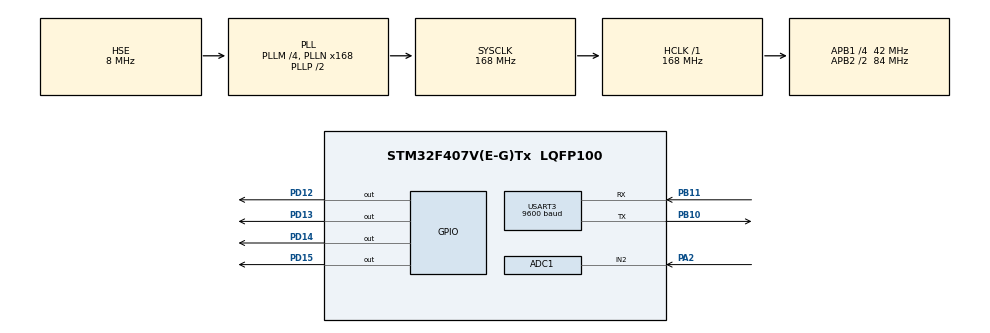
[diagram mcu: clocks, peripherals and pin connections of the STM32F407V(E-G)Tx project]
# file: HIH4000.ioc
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ADC1.Channel-8\#ChannelRegularConversion=ADC_CHANNEL_2
ADC1.ClockPrescaler=ADC_CLOCK_SYNC_PCLK_DIV4
ADC1.ContinuousConvMode=ENABLE
ADC1.DMAContinuousRequests=ENABLE
ADC1.DataAlign=ADC_DATAALIGN_RIGHT
ADC1.DiscontinuousConvMode=DISABLE
ADC1.EOCSelection=ADC_EOC_SINGLE_CONV
ADC1.EnableAnalogWatchDog=false
ADC1.ExternalTrigConvEdge=ADC_EXTERNALTRIGCONVEDGE_NONE
ADC1.InjNumberOfConversion=0
ADC1.NbrOfConversion=1
ADC1.NbrOfConversionFlag=1
ADC1.Rank-8\#ChannelRegularConversion=1
ADC1.Resolution=ADC_RESOLUTION_12B
ADC1.SamplingTime-8\#ChannelRegularConversion=ADC_SAMPLETIME_3CYCLES
ADC1.ScanConvMode=DISABLE
ADC1.master=1
Dma.ADC1.0.Direction=DMA_PERIPH_TO_MEMORY
Dma.ADC1.0.FIFOMode=DMA_FIFOMODE_DISABLE
Dma.ADC1.0.Instance=DMA2_Stream0
Dma.ADC1.0.MemDataAlignment=DMA_MDATAALIGN_HALFWORD
Dma.ADC1.0.MemInc=DMA_MINC_ENABLE
Dma.ADC1.0.Mode=DMA_CIRCULAR
Dma.ADC1.0.PeriphDataAlignment=DMA_PDATAALIGN_HALFWORD
Dma.ADC1.0.PeriphInc=DMA_PINC_DISABLE
Dma.ADC1.0.Priority=DMA_PRIORITY_LOW
Dma.Request0=ADC1
Mcu.Family=STM32F4
Mcu.Name=STM32F407V(E-G)Tx
Mcu.Package=LQFP100
NVIC.ADC_IRQn=true\:0\:0\:false\:false\:true
NVIC.DMA2_Stream0_IRQn=true\:0\:0\:false\:false\:true
NVIC.PriorityGroup=NVIC_PRIORITYGROUP_4
PA2.Signal=ADCx_IN2
PB10.Mode=Asynchronous
PB10.Signal=USART3_TX
PB11.Mode=Asynchronous
PB11.Signal=USART3_RX
PD12.Signal=GPIO_Output
PD13.Signal=GPIO_Output
PD14.Signal=GPIO_Output
PD15.Signal=GPIO_Output
PH0-OSC_IN.Mode=HSE-External-Oscillator
PH0-OSC_IN.Signal=RCC_OSC_IN
PH1-OSC_OUT.Mode=HSE-External-Oscillator
PH1-OSC_OUT.Signal=RCC_OSC_OUT
ProjectManager.HeapSize=0x200
ProjectManager.StackSize=0x400
ProjectManager.TargetToolchain=EWARM
RCC.48MHZClocksFreq_Value=84000000
RCC.AHBFreq_Value=168000000
RCC.APB1CLKDivider=RCC_HCLK_DIV4
RCC.APB1Freq_Value=42000000
RCC.APB1TimFreq_Value=84000000
RCC.APB2CLKDivider=RCC_HCLK_DIV2
RCC.APB2Freq_Value=84000000
RCC.APB2TimFreq_Value=168000000
RCC.CortexFreq_Value=168000000
RCC.HCLKFreq_Value=168000000
RCC.HSE_VALUE=8000000
RCC.HSI_VALUE=16000000
RCC.LSE_VALUE=32768
RCC.PLLM=4
RCC.PLLN=168
RCC.PLLSourceVirtual=RCC_PLLSOURCE_HSE
RCC.SYSCLKFreq_VALUE=168000000
RCC.SYSCLKSource=RCC_SYSCLKSOURCE_PLLCLK
RCC.VCOOutputFreq_Value=336000000
SH.ADCx_IN2.0=ADC1_IN2,IN2
USART3.BaudRate=9600
board=HIH4000

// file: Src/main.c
/**
  ******************************************************************************
  * File Name          : main.c
  * Description        : Main program body
  ******************************************************************************
  *
  *
  ******************************************************************************
  */
#include "stm32f4xx_hal.h"

/* USER CODE BEGIN Includes */
#include <stdio.h>//для вывода флоат.
/* USER CODE END Includes */

ADC_HandleTypeDef hadc1;
DMA_HandleTypeDef hdma_adc1;

UART_HandleTypeDef huart3;

/* USER CODE BEGIN PV */
/* Private variables ---------------------------------------------------------*/
float RH;//относительная влажность
//Radiometric response for 0 to 100% RH: Vout=Vsupply*(0.1752 to 0.7672)
//согласно с ф-лой - Vout(при0%)=5*0.1752=0.876V Vout(при100%)=5*0.7672=3.836V
//при RH=0% Vout=0.876V
//при RH=75.3% Vout=3.836V
float Vout;//вольтаж с АЦП
uint16_t ADC_VAL = 0;//переменная для хранения данных с АЦП.
//const float c = 3.3/4096;//1 значение по вольтажу с АЦП
const float c = 0.000806;
/* USER CODE END PV */

void SystemClock_Config(void);
void Error_Handler(void);
static void MX_GPIO_Init(void);
static void MX_DMA_Init(void);
static void MX_ADC1_Init(void);
static void MX_USART3_UART_Init(void);

/* USER CODE BEGIN PFP */
/* Private function prototypes -----------------------------------------------*/

/* USER CODE END PFP */

int main(void)
{

  /* MCU Configuration----------------------------------------------------------*/

  /* Reset of all peripherals, Initializes the Flash interface and the Systick. */
  HAL_Init();

  /* Configure the system clock */
  SystemClock_Config();

  /* Initialize all configured peripherals */
  MX_GPIO_Init();
  MX_DMA_Init();
  MX_ADC1_Init();
  MX_USART3_UART_Init();

  /* USER CODE BEGIN 2 */
  HAL_ADC_Start_DMA(&hadc1, (uint32_t*)&ADC_VAL, 1); //DMA ADC START
  /* USER CODE END 2 */

  /* Infinite loop */
  while (1)
  {
  char strOut[200];
  /* USER CODE BEGIN 3 */
  Vout = ADC_VAL*c;
  RH = ((Vout*1.5068) - 0.876)/0.0296;//1.5-коеф.делителя напр.
  sprintf(strOut, "humidity is %f%/n",RH);
  HAL_UART_Transmit(&huart3, (uint8_t*)&strOut, 16, 1000);
  HAL_Delay(1000);
  if (RH<50){
    HAL_GPIO_TogglePin(GPIOD, GPIO_PIN_15);}
  else if (RH>=70){
    HAL_GPIO_TogglePin(GPIOD, GPIO_PIN_13);
    }
  else if (RH>90){
    HAL_GPIO_TogglePin(GPIOD, GPIO_PIN_12);
    }
  }
  /* USER CODE END 3 */

}

/** System Clock Configuration
*/
void SystemClock_Config(void)
{

  RCC_OscInitTypeDef RCC_OscInitStruct;
  RCC_ClkInitTypeDef RCC_ClkInitStruct;

  __HAL_RCC_PWR_CLK_ENABLE();

  __HAL_PWR_VOLTAGESCALING_CONFIG(PWR_REGULATOR_VOLTAGE_SCALE1);

  RCC_OscInitStruct.OscillatorType = RCC_OSCILLATORTYPE_HSE;
  RCC_OscInitStruct.HSEState = RCC_HSE_ON;
  RCC_OscInitStruct.PLL.PLLState = RCC_PLL_ON;
  RCC_OscInitStruct.PLL.PLLSource = RCC_PLLSOURCE_HSE;
  RCC_OscInitStruct.PLL.PLLM = 4;
  RCC_OscInitStruct.PLL.PLLN = 168;
  RCC_OscInitStruct.PLL.PLLP = RCC_PLLP_DIV2;
  RCC_OscInitStruct.PLL.PLLQ = 4;
  if (HAL_RCC_OscConfig(&RCC_OscInitStruct) != HAL_OK)
  {
    Error_Handler();
  }

  RCC_ClkInitStruct.ClockType = RCC_CLOCKTYPE_HCLK|RCC_CLOCKTYPE_SYSCLK
                              |RCC_CLOCKTYPE_PCLK1|RCC_CLOCKTYPE_PCLK2;
  RCC_ClkInitStruct.SYSCLKSource = RCC_SYSCLKSOURCE_PLLCLK;
  RCC_ClkInitStruct.AHBCLKDivider = RCC_SYSCLK_DIV1;
  RCC_ClkInitStruct.APB1CLKDivider = RCC_HCLK_DIV4;
  RCC_ClkInitStruct.APB2CLKDivider = RCC_HCLK_DIV2;
  if (HAL_RCC_ClockConfig(&RCC_ClkInitStruct, FLASH_LATENCY_5) != HAL_OK)
  {
    Error_Handler();
  }

  HAL_SYSTICK_Config(HAL_RCC_GetHCLKFreq()/1000);

  HAL_SYSTICK_CLKSourceConfig(SYSTICK_CLKSOURCE_HCLK);

  /* SysTick_IRQn interrupt configuration */
  HAL_NVIC_SetPriority(SysTick_IRQn, 0, 0);
}

/* ADC1 init function */
static void MX_ADC1_Init(void)
{

  ADC_ChannelConfTypeDef sConfig;

    /**Configure the global features of the ADC (Clock, Resolution, Data Alignment and number of conversion)
    */
  hadc1.Instance = ADC1;
  hadc1.Init.ClockPrescaler = ADC_CLOCK_SYNC_PCLK_DIV4;
  hadc1.Init.Resolution = ADC_RESOLUTION_12B;
  hadc1.Init.ScanConvMode = DISABLE;
  hadc1.Init.ContinuousConvMode = ENABLE;
  hadc1.Init.DiscontinuousConvMode = DISABLE;
  hadc1.Init.ExternalTrigConvEdge = ADC_EXTERNALTRIGCONVEDGE_NONE;
  hadc1.Init.DataAlign = ADC_DATAALIGN_RIGHT;
  hadc1.Init.NbrOfConversion = 1;
  hadc1.Init.DMAContinuousRequests = ENABLE;
  hadc1.Init.EOCSelection = ADC_EOC_SINGLE_CONV;
  if (HAL_ADC_Init(&hadc1) != HAL_OK)
  {
    Error_Handler();
  }

    /**Configure for the selected ADC regular channel its corresponding rank in the sequencer and its sample time.
    */
  sConfig.Channel = ADC_CHANNEL_2;
  sConfig.Rank = 1;
  sConfig.SamplingTime = ADC_SAMPLETIME_3CYCLES;
  if (HAL_ADC_ConfigChannel(&hadc1, &sConfig) != HAL_OK)
  {
    Error_Handler();
  }

}

/* USART3 init function */
static void MX_USART3_UART_Init(void)
{

  huart3.Instance = USART3;
  huart3.Init.BaudRate = 9600;
  huart3.Init.WordLength = UART_WORDLENGTH_8B;
  huart3.Init.StopBits = UART_STOPBITS_1;
  huart3.Init.Parity = UART_PARITY_NONE;
  huart3.Init.Mode = UART_MODE_TX_RX;
  huart3.Init.HwFlowCtl = UART_HWCONTROL_NONE;
  huart3.Init.OverSampling = UART_OVERSAMPLING_16;
  if (HAL_UART_Init(&huart3) != HAL_OK)
  {
    Error_Handler();
  }

}

static void MX_DMA_Init(void)
{
  /* DMA controller clock enable */
  __HAL_RCC_DMA2_CLK_ENABLE();

  /* DMA interrupt init */
  /* DMA2_Stream0_IRQn interrupt configuration */
  HAL_NVIC_SetPriority(DMA2_Stream0_IRQn, 0, 0);
  HAL_NVIC_EnableIRQ(DMA2_Stream0_IRQn);

}

/** Configure pins as
        * Analog
        * Input
        * Output
        * EVENT_OUT
        * EXTI
*/
static void MX_GPIO_Init(void)
{

  GPIO_InitTypeDef GPIO_InitStruct;

  /* GPIO Ports Clock Enable */
  __HAL_RCC_GPIOH_CLK_ENABLE();
  __HAL_RCC_GPIOA_CLK_ENABLE();
  __HAL_RCC_GPIOB_CLK_ENABLE();
  __HAL_RCC_GPIOD_CLK_ENABLE();

  /*Configure GPIO pin Output Level */
  HAL_GPIO_WritePin(GPIOD, GPIO_PIN_12|GPIO_PIN_13|GPIO_PIN_14|GPIO_PIN_15, GPIO_PIN_RESET);

  /*Configure GPIO pins : PD12 PD13 PD14 PD15 */
  GPIO_InitStruct.Pin = GPIO_PIN_12|GPIO_PIN_13|GPIO_PIN_14|GPIO_PIN_15;
  GPIO_InitStruct.Mode = GPIO_MODE_OUTPUT_PP;
  GPIO_InitStruct.Pull = GPIO_NOPULL;
  GPIO_InitStruct.Speed = GPIO_SPEED_FREQ_LOW;
  HAL_GPIO_Init(GPIOD, &GPIO_InitStruct);

}

void Error_Handler(void)
{
  while(1)
  {
  }
}

/************************ (C) COPYRIGHT STMicroelectronics *****END OF FILE****/
